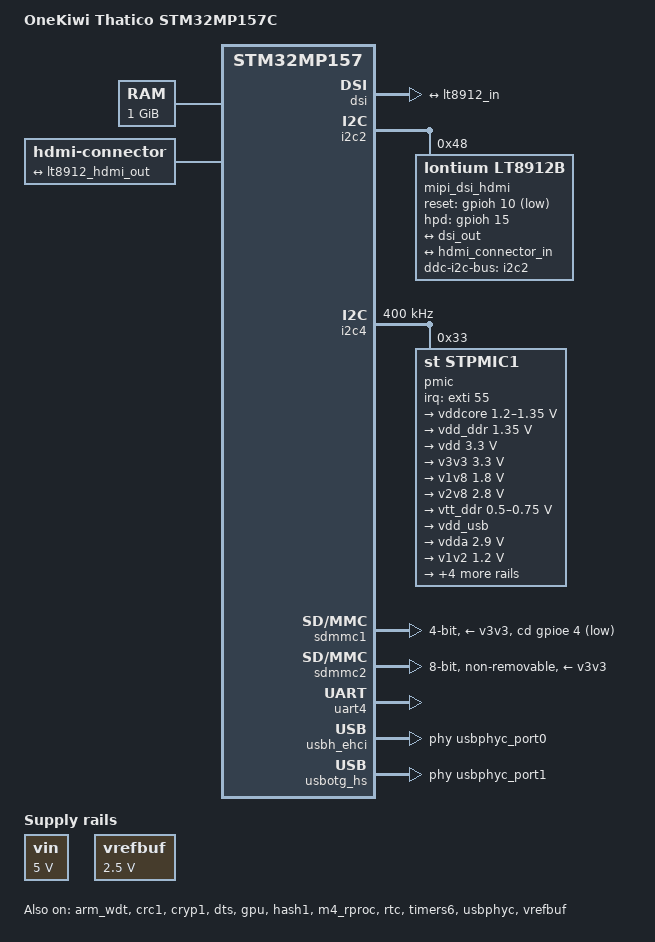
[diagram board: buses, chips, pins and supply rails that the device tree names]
// SPDX-License-Identifier: (GPL-2.0+ OR BSD-3-Clause)
/*
 * Copyright (C) STMicroelectronics 2017 - All Rights Reserved
 * Author: Ludovic Barre <ludovic.barre@st.com> for STMicroelectronics.
 */
/dts-v1/;

#include "stm32mp157.dtsi"
#include "stm32mp15xc.dtsi"
#include "stm32mp15-pinctrl.dtsi"
#include "stm32mp15xxaa-pinctrl.dtsi"
#include "stm32mp15-m4-srm.dtsi"
#include "stm32mp15-m4-srm-pinctrl.dtsi"
#include "stm32mp157c-thatico-scmi.dtsi"
#include "stm32mp157c-thatico-pin.dtsi"
#include <dt-bindings/gpio/gpio.h>
#include <dt-bindings/mfd/st,stpmic1.h>

/ {
	model = "OneKiwi Thatico STM32MP157C";
	compatible = "st,stm32mp157c-thatico", "st,stm32mp157";

	aliases {
		serial0 = &uart4;
		i2c1 = &i2c2;
	};

	chosen {
		stdout-path = "serial0:115200n8";
	};

	memory@c0000000 {
		device_type = "memory";
		reg = <0xc0000000 0x40000000>;
	};

	reserved-memory {
		#address-cells = <1>;
		#size-cells = <1>;
		ranges;

		mcuram2: mcuram2@10000000 {
			compatible = "shared-dma-pool";
			reg = <0x10000000 0x40000>;
			no-map;
		};

		vdev0vring0: vdev0vring0@10040000 {
			compatible = "shared-dma-pool";
			reg = <0x10040000 0x1000>;
			no-map;
		};

		vdev0vring1: vdev0vring1@10041000 {
			compatible = "shared-dma-pool";
			reg = <0x10041000 0x1000>;
			no-map;
		};

		vdev0buffer: vdev0buffer@10042000 {
			compatible = "shared-dma-pool";
			reg = <0x10042000 0x4000>;
			no-map;
		};

		mcu_rsc_table: mcu-rsc-table@10048000 {
			compatible = "shared-dma-pool";
			reg = <0x10048000 0x8000>;
			no-map;
		};

		mcuram: mcuram@30000000 {
			compatible = "shared-dma-pool";
			reg = <0x30000000 0x40000>;
			no-map;
		};

		retram: retram@38000000 {
			compatible = "shared-dma-pool";
			reg = <0x38000000 0x10000>;
			no-map;
		};

		gpu_reserved: gpu@e8000000 {
			reg = <0xe8000000 0x8000000>;
			no-map;
		};

		/* global autoconfigured region for contiguous allocations */
		linux,cma {
			compatible = "shared-dma-pool";
			reusable;
			size = <0x8000000>;
			alignment = <0x2000>;
			linux,cma-default;
		};
	};

	hdmi {
		compatible = "hdmi-connector";
		//ddc-i2c-bus = <&i2c2>;
		type = "a";
		port {
			hdmi_connector_in: endpoint {
				remote-endpoint = <&lt8912_hdmi_out>;
			};
		};
	};

	vin: vin {
		compatible = "regulator-fixed";
		regulator-name = "vin";
		regulator-min-microvolt = <5000000>;
		regulator-max-microvolt = <5000000>;
		regulator-always-on;
	};
};

&adc {
	/* ANA0, ANA1 are dedicated pins and don't need pinctrl: only in6. */
	pinctrl-0 = <&adc1_in6_pins_a>;
	pinctrl-names = "default";
	vdd-supply = <&vdd>;
	vdda-supply = <&vdda>;
	vref-supply = <&vdda>;
	status = "disabled";
	adc1: adc@0 {
		status = "okay";
		channel@0 {
			reg = <0>;
			/* 16.5 ck_cycles sampling time */
			st,min-sample-time-ns = <400>;
		};
		channel@1 {
			reg = <1>;
			st,min-sample-time-ns = <400>;
		};
		channel@6 {
			reg = <6>;
			st,min-sample-time-ns = <400>;
		};
	};
};

&arm_wdt {
	timeout-sec = <32>;
	status = "okay";
};

&cpu0 {
	cpu-supply = <&vddcore>;
};

&cpu1 {
	cpu-supply = <&vddcore>;
};

&crc1 {
	status = "okay";
};

&cryp1 {
	status = "okay";
};

&dac {
	pinctrl-names = "default";
	pinctrl-0 = <&dac_ch1_pins_a &dac_ch2_pins_a>;
	vref-supply = <&vdda>;
	status = "disabled";
	dac1: dac@1 {
		status = "okay";
	};
	dac2: dac@2 {
		status = "okay";
	};
};

&dsi{
	status = "okay";
	#address-cells = <1>;
	#size-cells = <0>;
	ports {
		#address-cells = <1>;
		#size-cells = <0>;
		/*
		port@0 {
			reg = <0>;
			dsi_in: endpoint {
				remote-endpoint = <&ltdc_ep0_out>;
			};
		};*/
		port@1 {
			reg = <1>;
			dsi_out: endpoint {
				//data-lanes = <0 1>;
				remote-endpoint = <&lt8912_in>;
				attach-bridge;
			};
		};
	};
};

&dts {
	status = "okay";
};

&gpu {
	status = "okay";
	contiguous-area = <&gpu_reserved>;
};

&hash1 {
	status = "okay";
};

&i2c2 {
	pinctrl-names = "default", "sleep";
	pinctrl-0 = <&i2c2_pins_x>;
	pinctrl-1 = <&i2c2_sleep_pins_x>;
	i2c-scl-rising-time-ns = <100>;
	i2c-scl-falling-time-ns = <7>;
	status = "okay";
	/delete-property/dmas;
	/delete-property/dma-names;

	mipi_dsi_hdmi: lt8912b@48 {
		compatible = "lontium,lt8912b";
		reg = <0x48>;
		ddc-i2c-bus = <&i2c2>;
		reset-gpios = <&gpioh 10 GPIO_ACTIVE_LOW>;
		hpd-gpios = <&gpioh 15 GPIO_ACTIVE_HIGH>;
		//swap-mipi-pn;
		status = "okay";
		ports {
			#address-cells = <1>;
			#size-cells = <0>;
			port@0 {
				reg = <0>;
				lt8912_in: endpoint {
					//data-lanes = <0 1>;
					remote-endpoint = <&dsi_out>;
				};
			};
			port@1 {
				reg = <1>;
				lt8912_hdmi_out: endpoint {
					remote-endpoint = <&hdmi_connector_in>;
				};
			};
		};
	};
};

&i2c4 {
	pinctrl-names = "default", "sleep";
	pinctrl-0 = <&i2c4_pins_a>;
	pinctrl-1 = <&i2c4_sleep_pins_a>;
	i2c-scl-rising-time-ns = <185>;
	i2c-scl-falling-time-ns = <20>;
	clock-frequency = <400000>;
	status = "okay";
	/* spare dmas for other usage */
	/delete-property/dmas;
	/delete-property/dma-names;

	pmic: stpmic@33 {
		compatible = "st,stpmic1";
		reg = <0x33>;
		interrupts-extended = <&exti 55 IRQ_TYPE_EDGE_FALLING>;
		interrupt-controller;
		#interrupt-cells = <2>;
		status = "okay";

		regulators {
			compatible = "st,stpmic1-regulators";
			buck1-supply = <&vin>;
			buck2-supply = <&vin>;
			buck3-supply = <&vin>;
			buck4-supply = <&vin>;
			ldo1-supply = <&v3v3>;
			ldo2-supply = <&vin>;
			ldo3-supply = <&vdd_ddr>;
			ldo4-supply = <&vin>;
			ldo5-supply = <&vin>;
			ldo6-supply = <&v3v3>;
			vref_ddr-supply = <&vin>;
			boost-supply = <&vin>;
			pwr_sw1-supply = <&bst_out>;
			pwr_sw2-supply = <&bst_out>;

			vddcore: buck1 {
				regulator-name = "vddcore";
				regulator-min-microvolt = <1200000>;
				regulator-max-microvolt = <1350000>;
				regulator-always-on;
				regulator-initial-mode = <0>;
				regulator-over-current-protection;
			};

			vdd_ddr: buck2 {
				regulator-name = "vdd_ddr";
				regulator-min-microvolt = <1350000>;
				regulator-max-microvolt = <1350000>;
				regulator-always-on;
				regulator-initial-mode = <0>;
				regulator-over-current-protection;
			};

			vdd: buck3 {
				regulator-name = "vdd";
				regulator-min-microvolt = <3300000>;
				regulator-max-microvolt = <3300000>;
				regulator-always-on;
				st,mask-reset;
				regulator-initial-mode = <0>;
				regulator-over-current-protection;
			};

			v3v3: buck4 {
				regulator-name = "v3v3";
				regulator-min-microvolt = <3300000>;
				regulator-max-microvolt = <3300000>;
				regulator-always-on;
				regulator-over-current-protection;
				regulator-initial-mode = <0>;
			};

			v1v8: ldo1 {
				regulator-name = "v1v8";
				regulator-min-microvolt = <1800000>;
				regulator-max-microvolt = <1800000>;
				regulator-always-on;
				interrupts = <IT_CURLIM_LDO1 0>;
			};

			v2v8: ldo2 {
				regulator-name = "v2v8";
				regulator-min-microvolt = <2800000>;
				regulator-max-microvolt = <2800000>;
				regulator-always-on;
				interrupts = <IT_CURLIM_LDO2 0>;
			};

			vtt_ddr: ldo3 {
				regulator-name = "vtt_ddr";
				regulator-min-microvolt = <500000>;
				regulator-max-microvolt = <750000>;
				regulator-always-on;
				regulator-over-current-protection;
			};

			vdd_usb: ldo4 {
				regulator-name = "vdd_usb";
				interrupts = <IT_CURLIM_LDO4 0>;
			};

			vdda: ldo5 {
				regulator-name = "vdda";
				regulator-min-microvolt = <2900000>;
				regulator-max-microvolt = <2900000>;
				interrupts = <IT_CURLIM_LDO5 0>;
				regulator-boot-on;
			};

			v1v2: ldo6 {
				regulator-name = "v1v2";
				regulator-min-microvolt = <1200000>;
				regulator-max-microvolt = <1200000>;
				regulator-always-on;
				interrupts = <IT_CURLIM_LDO6 0>;
			};

			vref_ddr: vref-ddr {
				regulator-name = "vref_ddr";
				regulator-always-on;
			};

			bst_out: boost {
				regulator-name = "bst_out";
				interrupts = <IT_OCP_BOOST 0>;
			};

			vbus_otg: pwr-sw1 {
				regulator-name = "vbus_otg";
				interrupts = <IT_OCP_OTG 0>;
			};

			vbus_sw: pwr-sw2 {
				regulator-name = "vbus_sw";
				interrupts = <IT_OCP_SWOUT 0>;
				regulator-active-discharge = <1>;
			};
		};

		onkey {
			compatible = "st,stpmic1-onkey";
			interrupts = <IT_PONKEY_F 0>, <IT_PONKEY_R 0>;
			interrupt-names = "onkey-falling", "onkey-rising";
			power-off-time-sec = <10>;
			status = "okay";
		};

		watchdog {
			compatible = "st,stpmic1-wdt";
			status = "disabled";
		};
	};
};

&ipcc {
	status = "okay";
};

&m4_rproc {
	memory-region = <&retram>, <&mcuram>, <&mcuram2>, <&vdev0vring0>,
			<&vdev0vring1>, <&vdev0buffer>, <&mcu_rsc_table>;
	mboxes = <&ipcc 0>, <&ipcc 1>, <&ipcc 2>, <&ipcc 3>;
	mbox-names = "vq0", "vq1", "shutdown", "detach";
	interrupt-parent = <&exti>;
	interrupts = <68 1>;
	wakeup-source;
	status = "okay";
};

&pwr_regulators {
	vdd-supply = <&vdd>;
	vdd_3v3_usbfs-supply = <&vdd_usb>;
};

&rtc {
	status = "okay";
};

&sdmmc1 {
	pinctrl-names = "default", "opendrain", "sleep";
	pinctrl-0 = <&sdmmc1_b4_pins_a>;
	pinctrl-1 = <&sdmmc1_b4_od_pins_a>;
	pinctrl-2 = <&sdmmc1_b4_sleep_pins_a>;
	cd-gpios = <&gpioe 4 (GPIO_ACTIVE_LOW | GPIO_PULL_UP)>;
	disable-wp;
	st,neg-edge;
	bus-width = <4>;
	vmmc-supply = <&v3v3>;
	status = "okay";
};

&sdmmc2 {
	pinctrl-names = "default", "opendrain", "sleep";
	pinctrl-0 = <&sdmmc2_b4_pins_a &sdmmc2_d47_pins_x>;
	pinctrl-1 = <&sdmmc2_b4_od_pins_a &sdmmc2_d47_pins_x>;
	pinctrl-2 = <&sdmmc2_b4_sleep_pins_a &sdmmc2_d47_sleep_pins_x>;
	non-removable;
	no-sd;
	no-sdio;
	st,neg-edge;
	bus-width = <8>;
	vmmc-supply = <&v3v3>;
	vqmmc-supply = <&vdd>;
	mmc-ddr-3_3v;
	status = "okay";
};

&timers6 {
	status = "okay";
	/* spare dmas for other usage */
	/delete-property/dmas;
	/delete-property/dma-names;
	timer@5 {
		status = "okay";
	};
};

&uart4 {
	pinctrl-names = "default", "sleep", "idle";
	pinctrl-0 = <&uart4_pins_a>;
	pinctrl-1 = <&uart4_sleep_pins_a>;
	pinctrl-2 = <&uart4_idle_pins_a>;
	/delete-property/dmas;
	/delete-property/dma-names;
	status = "okay";
};

&usbh_ehci {
	phys = <&usbphyc_port0>;
	status = "okay";
	#address-cells = <1>;
	#size-cells = <0>;
};

&usbotg_hs {
	phys = <&usbphyc_port1 0>;
	phy-names = "usb2-phy";
	usb-role-switch;
	status = "okay";
};

&usbphyc {
	status = "okay";
};

&usbphyc_port0 {
	phy-supply = <&vdd_usb>;
	st,tune-hs-dc-level = <2>;
	st,enable-fs-rftime-tuning;
	st,enable-hs-rftime-reduction;
	st,trim-hs-current = <15>;
	st,trim-hs-impedance = <1>;
	st,tune-squelch-level = <3>;
	st,tune-hs-rx-offset = <2>;
	st,no-lsfs-sc;
};

&usbphyc_port1 {
	phy-supply = <&vdd_usb>;
	st,tune-hs-dc-level = <2>;
	st,enable-fs-rftime-tuning;
	st,enable-hs-rftime-reduction;
	st,trim-hs-current = <15>;
	st,trim-hs-impedance = <1>;
	st,tune-squelch-level = <3>;
	st,tune-hs-rx-offset = <2>;
	st,no-lsfs-sc;
};

&vrefbuf {
	regulator-min-microvolt = <2500000>;
	regulator-max-microvolt = <2500000>;
	vdda-supply = <&vdd>;
	status = "okay";
};
